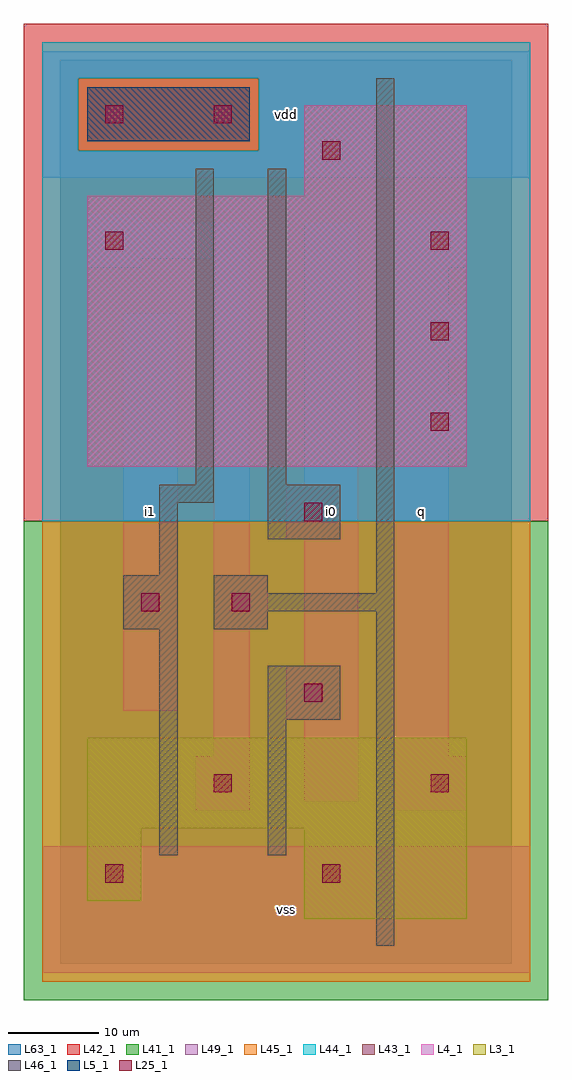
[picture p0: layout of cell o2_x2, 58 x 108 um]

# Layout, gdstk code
import gdstk
lib = gdstk.Library(unit=1e-6, precision=1e-09)
def R(c, l, rs):  # rectangles x0, y0, x1, y1
    for r in rs: c.add(gdstk.rectangle(r[:2], r[2:], *l))
def A(c, l, x, y, w, h, nx, ny, dx, dy):  # array of equal rectangles
    R(c, l, [(x+i*dx, y+j*dy, x+i*dx+w, y+j*dy+h) for i in range(nx) for j in range(ny)])
L3_1 = (3, 1)
L4_1 = (4, 1)
L5_1 = (5, 1)
L25_1 = (25, 1)
L41_1 = (41, 1)
L42_1 = (42, 1)
L43_1 = (43, 1)
L44_1 = (44, 1)
L45_1 = (45, 1)
L46_1 = (46, 1)
L49_1 = (49, 1)
L63_1 = (63, 1)

o2_x2 = lib.new_cell('o2_x2')
R(o2_x2, L3_1, [(27,5,45,15), (3,7,9,15), (3,15,45,25)])
R(o2_x2, L4_1, [(3,55,45,85), (27,85,45,95)])
R(o2_x2, L5_1, [(3,91,21,97)])
A(o2_x2, L25_1, 41, 59, 2, 2, 1, 3, 0, 10)
R(o2_x2, L25_1, [(5,9,7,11), (29,9,31,11), (17,19,19,21), (41,19,43,21), (27,29,29,31), (9,39,11,41), (19,39,21,41), (27,49,29,51), (5,79,7,81), (29,89,31,91), (5,93,7,95), (17,93,19,95)])
R(o2_x2, L41_1, [(-4,-4,54,49)])
R(o2_x2, L42_1, [(-4,49,54,104)])
R(o2_x2, L43_1, [(27,5,45,15), (3,7,9,15), (3,15,45,25), (3,55,45,85), (27,85,45,95), (3,91,21,97)])
R(o2_x2, L44_1, [(-2,49,52,90), (-2,90,2,98), (22,90,52,98), (-2,98,52,102)])
R(o2_x2, L45_1, [(-2,-2,52,49), (2,90,22,98)])
R(o2_x2, L46_1, [(35,2,37,39), (11,12,13,37), (23,12,25,27), (23,27,31,33), (7,37,13,43), (17,37,23,39), (17,39,37,41), (17,41,23,43), (35,41,37,98), (11,43,13,51), (23,47,31,53), (11,51,17,53), (15,53,17,88), (23,53,25,88)])
A(o2_x2, L49_1, 37, 57, 8, 6, 1, 3, 0, 10)
R(o2_x2, L49_1, [(-2,-1,52,13), (15,17,21,23), (37,17,45,23), (27,18,33,27), (17,23,21,37), (37,23,43,57), (25,27,33,33), (7,28,13,72), (27,33,33,47), (17,37,23,43), (17,43,21,78), (25,47,33,53), (27,53,33,82), (37,63,43,67), (37,73,43,77), (3,77,9,78), (3,78,21,82), (3,82,9,83), (-2,87,52,101)])
R(o2_x2, L63_1, [(0,0,50,100)])
o2_x2.add(gdstk.Label('i1', (10,50), layer=49, texttype=1))
o2_x2.add(gdstk.Label('i1', (10,50), layer=49, texttype=1))
o2_x2.add(gdstk.Label('vss', (25,6), layer=49, texttype=1))
o2_x2.add(gdstk.Label('vss', (25,6), layer=49, texttype=1))
o2_x2.add(gdstk.Label('i0', (30,50), layer=49, texttype=1))
o2_x2.add(gdstk.Label('i0', (30,50), layer=49, texttype=1))
o2_x2.add(gdstk.Label('vdd', (25,94), layer=49, texttype=1))
o2_x2.add(gdstk.Label('vdd', (25,94), layer=49, texttype=1))
o2_x2.add(gdstk.Label('q', (40,50), layer=49, texttype=1))
o2_x2.add(gdstk.Label('q', (40,50), layer=49, texttype=1))

lib.write_gds('o2_x2.gds')
